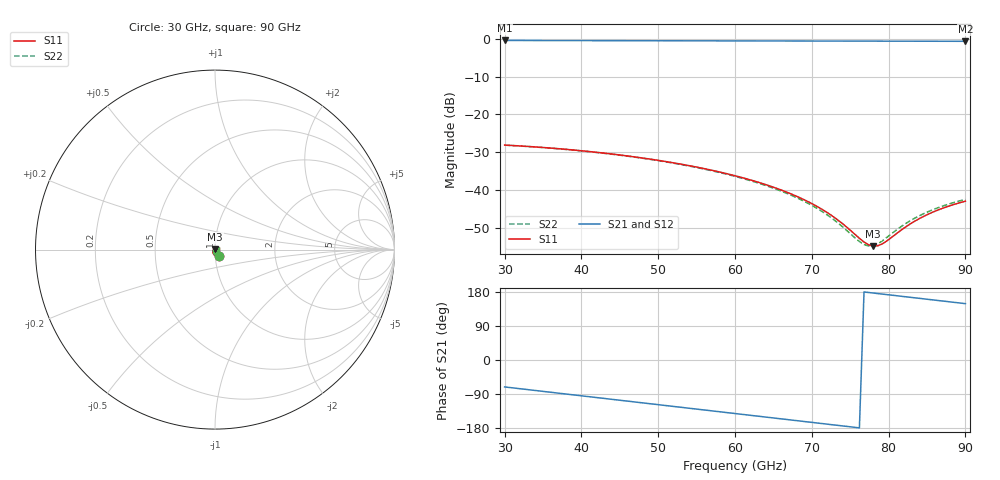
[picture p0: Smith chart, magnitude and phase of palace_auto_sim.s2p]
#  GHZ S DB R 50
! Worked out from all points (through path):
!   101 points, 30 GHz to 90 GHz, reference 50 ohm
!   highest |S21| = -0.46 dB at 30 GHz (marker M1); lowest = -0.7 dB at 90 GHz (marker M2)
!   group delay of S21, straight-line fit = 6.49 ps
!   lowest |S11| = -54.8 dB at 78 GHz (marker M3), VSWR 1.00, Z = 50 + j0.182 ohm
!   |S11| at or under -10 dB: start of sweep to end of sweep
!   |S22| runs from -54.7 to -28.1 dB; largest |S21 - S12| = 1.1e-14
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30  -28.09 -58.8  -0.46 -71.1  -0.46 -71.1  -28.11 -58.8
35.4  -28.79 -72.9  -0.48 -83.7  -0.48 -83.7  -28.81 -72.9
40.2  -29.63 -85.5  -0.50 -95.0  -0.50 -95.0  -29.67 -85.5
45  -30.71 -98.3  -0.52 -106.2  -0.52 -106.2  -30.76 -98.3
50.4  -32.25 -112.9  -0.54 -118.8  -0.54 -118.8  -32.33 -112.9
55.2  -33.98 -126.3  -0.56 -130.0  -0.56 -130.0  -34.10 -126.4
60  -36.18 -140.4  -0.57 -141.3  -0.57 -141.3  -36.35 -140.5
65.4  -39.50 -157.7  -0.59 -153.9  -0.59 -153.9  -39.78 -158.0
67.8  -41.41 -166.4  -0.60 -159.5  -0.60 -159.5  -41.77 -166.9
70.2  -43.75 -176.7  -0.61 -165.1  -0.61 -165.1  -44.23 -177.6
73.2  -47.59 165.9  -0.62 -172.1  -0.62 -172.1  -48.32 163.4
76.2  -52.71 132.0  -0.63 -179.1  -0.63 -179.1  -53.57 123.4
76.8  -53.69 120.7  -0.63 179.5  -0.63 179.5  -54.35 110.1
77.4  -54.43 107.4  -0.64 178.1  -0.64 178.1  -54.75 95.3
78  -54.79 92.7  -0.64 176.7  -0.64 176.7  -54.67 80.1
78.6  -54.68 77.8  -0.64 175.3  -0.64 175.3  -54.16 66.1
79.2  -54.16 64.1  -0.64 173.9  -0.64 173.9  -53.36 54.1
80.4  -52.46 42.5  -0.65 171.1  -0.65 171.1  -51.47 35.9
82.2  -49.74 21.9  -0.65 166.9  -0.65 166.9  -48.84 18.4
84.6  -46.88 5.4  -0.66 161.3  -0.66 161.3  -46.17 3.6
87  -44.80 -6.2  -0.67 155.7  -0.67 155.7  -44.22 -7.2
90  -42.91 -17.7  -0.68 148.7  -0.68 148.7  -42.44 -18.3
